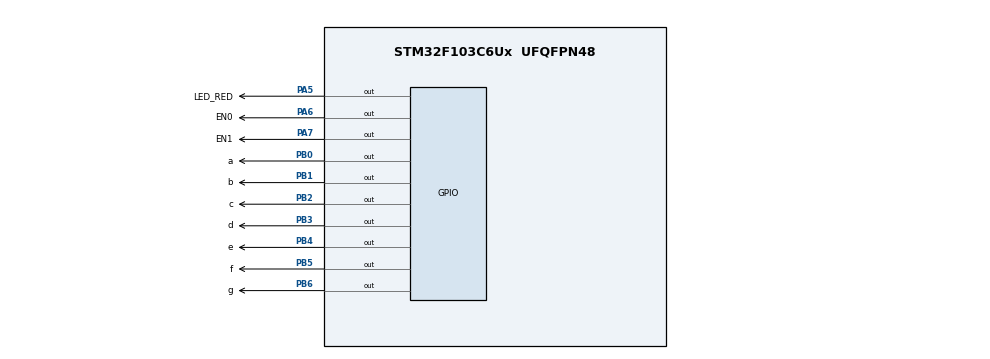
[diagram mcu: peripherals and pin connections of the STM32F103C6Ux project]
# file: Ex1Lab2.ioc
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Mcu.Family=STM32F1
Mcu.Name=STM32F103C6Ux
Mcu.Package=UFQFPN48
NVIC.PriorityGroup=NVIC_PRIORITYGROUP_4
NVIC.TIM2_IRQn=true\:0\:0\:false\:false\:true\:true\:true
PA5.GPIO_Label=LED_RED
PA5.Signal=GPIO_Output
PA6.GPIO_Label=EN0
PA6.Signal=GPIO_Output
PA7.GPIO_Label=EN1
PA7.Signal=GPIO_Output
PB0.GPIO_Label=a
PB0.Signal=GPIO_Output
PB1.GPIO_Label=b
PB1.Signal=GPIO_Output
PB2.GPIO_Label=c
PB2.Signal=GPIO_Output
PB3.GPIO_Label=d
PB3.Signal=GPIO_Output
PB4.GPIO_Label=e
PB4.Signal=GPIO_Output
PB5.GPIO_Label=f
PB5.Signal=GPIO_Output
PB6.GPIO_Label=g
PB6.Signal=GPIO_Output
ProjectManager.HeapSize=0x200
ProjectManager.StackSize=0x400
ProjectManager.TargetToolchain=STM32CubeIDE
RCC.APB1Freq_Value=8000000
RCC.APB2Freq_Value=8000000
TIM2.Period=9
TIM2.Prescaler=7999
VP_SYS_VS_ND.Mode=No_Debug
VP_TIM2_VS_ClockSourceINT.Mode=Internal
board=custom

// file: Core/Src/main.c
/* USER CODE BEGIN Header */
/**
  ******************************************************************************
  * @file           : main.c
  * @brief          : Main program body
  ******************************************************************************
  * @attention
  *
  * <h2><center>&copy; Copyright (c) 2024 STMicroelectronics.
  * All rights reserved.</center></h2>
  *
  * This software component is licensed by ST under BSD 3-Clause license,
  * the "License"; You may not use this file except in compliance with the
  * License. You may obtain a copy of the License at:
  *                        opensource.org/licenses/BSD-3-Clause
  *
  ******************************************************************************
  */
/* USER CODE END Header */
#include "main.h"

TIM_HandleTypeDef htim2;

void SystemClock_Config(void);
static void MX_TIM2_Init(void);
static void MX_GPIO_Init(void);
void display7SEG(int num);

int main(void)
{

  /* MCU Configuration--------------------------------------------------------*/

  /* Reset of all peripherals, Initializes the Flash interface and the Systick. */
  HAL_Init();

  /* Configure the system clock */
  SystemClock_Config();

  /* Initialize all configured peripherals */
  MX_TIM2_Init();
  MX_GPIO_Init();
  /* USER CODE BEGIN 2 */
  HAL_TIM_Base_Start_IT(&htim2);
  /* USER CODE END 2 */

  /* Infinite loop */
  while (1)
  {

  }
}
void display7SEG(int num)
{

  if (num == 1)
  {
    HAL_GPIO_WritePin(a_GPIO_Port, a_Pin, GPIO_PIN_SET);
    HAL_GPIO_WritePin(b_GPIO_Port, b_Pin, GPIO_PIN_RESET);
    HAL_GPIO_WritePin(c_GPIO_Port, c_Pin, GPIO_PIN_RESET);
    HAL_GPIO_WritePin(d_GPIO_Port, d_Pin, GPIO_PIN_SET);
    HAL_GPIO_WritePin(e_GPIO_Port, e_Pin, GPIO_PIN_SET);
    HAL_GPIO_WritePin(f_GPIO_Port, f_Pin, GPIO_PIN_SET);
    HAL_GPIO_WritePin(g_GPIO_Port, g_Pin, GPIO_PIN_SET);
  }

  else if (num == 2)
  {
    HAL_GPIO_WritePin(a_GPIO_Port, a_Pin, GPIO_PIN_RESET);
    HAL_GPIO_WritePin(b_GPIO_Port, b_Pin, GPIO_PIN_RESET);
    HAL_GPIO_WritePin(c_GPIO_Port, c_Pin, GPIO_PIN_SET);
    HAL_GPIO_WritePin(d_GPIO_Port, d_Pin, GPIO_PIN_RESET);
    HAL_GPIO_WritePin(e_GPIO_Port, e_Pin, GPIO_PIN_RESET);
    HAL_GPIO_WritePin(f_GPIO_Port, f_Pin, GPIO_PIN_SET);
    HAL_GPIO_WritePin(g_GPIO_Port, g_Pin, GPIO_PIN_RESET);
  }
}
void SystemClock_Config(void)
{
  RCC_OscInitTypeDef RCC_OscInitStruct = {0};
  RCC_ClkInitTypeDef RCC_ClkInitStruct = {0};

  /** Initializes the RCC Oscillators according to the specified parameters
  * in the RCC_OscInitTypeDef structure.
  */
  RCC_OscInitStruct.OscillatorType = RCC_OSCILLATORTYPE_HSI;
  RCC_OscInitStruct.HSIState = RCC_HSI_ON;
  RCC_OscInitStruct.HSICalibrationValue = RCC_HSICALIBRATION_DEFAULT;
  RCC_OscInitStruct.PLL.PLLState = RCC_PLL_NONE;
  if (HAL_RCC_OscConfig(&RCC_OscInitStruct) != HAL_OK)
  {
    Error_Handler();
  }
  /** Initializes the CPU, AHB and APB buses clocks
  */
  RCC_ClkInitStruct.ClockType = RCC_CLOCKTYPE_HCLK|RCC_CLOCKTYPE_SYSCLK
                              |RCC_CLOCKTYPE_PCLK1|RCC_CLOCKTYPE_PCLK2;
  RCC_ClkInitStruct.SYSCLKSource = RCC_SYSCLKSOURCE_HSI;
  RCC_ClkInitStruct.AHBCLKDivider = RCC_SYSCLK_DIV1;
  RCC_ClkInitStruct.APB1CLKDivider = RCC_HCLK_DIV1;
  RCC_ClkInitStruct.APB2CLKDivider = RCC_HCLK_DIV1;

  if (HAL_RCC_ClockConfig(&RCC_ClkInitStruct, FLASH_LATENCY_0) != HAL_OK)
  {
    Error_Handler();
  }
}

static void MX_TIM2_Init(void)
{

  TIM_ClockConfigTypeDef sClockSourceConfig = {0};
  TIM_MasterConfigTypeDef sMasterConfig = {0};

  htim2.Instance = TIM2;
  htim2.Init.Prescaler = 7999;
  htim2.Init.CounterMode = TIM_COUNTERMODE_UP;
  htim2.Init.Period = 9;
  htim2.Init.ClockDivision = TIM_CLOCKDIVISION_DIV1;
  htim2.Init.AutoReloadPreload = TIM_AUTORELOAD_PRELOAD_DISABLE;
  if (HAL_TIM_Base_Init(&htim2) != HAL_OK)
  {
    Error_Handler();
  }
  sClockSourceConfig.ClockSource = TIM_CLOCKSOURCE_INTERNAL;
  if (HAL_TIM_ConfigClockSource(&htim2, &sClockSourceConfig) != HAL_OK)
  {
    Error_Handler();
  }
  sMasterConfig.MasterOutputTrigger = TIM_TRGO_RESET;
  sMasterConfig.MasterSlaveMode = TIM_MASTERSLAVEMODE_DISABLE;
  if (HAL_TIMEx_MasterConfigSynchronization(&htim2, &sMasterConfig) != HAL_OK)
  {
    Error_Handler();
  }

}

static void MX_GPIO_Init(void)
{
  GPIO_InitTypeDef GPIO_InitStruct = {0};

  /* GPIO Ports Clock Enable */
  __HAL_RCC_GPIOA_CLK_ENABLE();
  __HAL_RCC_GPIOB_CLK_ENABLE();

  /*Configure GPIO pin Output Level */
  HAL_GPIO_WritePin(GPIOA, LED_RED_Pin|EN0_Pin|EN1_Pin, GPIO_PIN_RESET);

  /*Configure GPIO pin Output Level */
  HAL_GPIO_WritePin(GPIOB, a_Pin|b_Pin|c_Pin|d_Pin
                          |e_Pin|f_Pin|g_Pin, GPIO_PIN_RESET);

  /*Configure GPIO pins : LED_RED_Pin EN0_Pin EN1_Pin */
  GPIO_InitStruct.Pin = LED_RED_Pin|EN0_Pin|EN1_Pin;
  GPIO_InitStruct.Mode = GPIO_MODE_OUTPUT_PP;
  GPIO_InitStruct.Pull = GPIO_NOPULL;
  GPIO_InitStruct.Speed = GPIO_SPEED_FREQ_LOW;
  HAL_GPIO_Init(GPIOA, &GPIO_InitStruct);

  /*Configure GPIO pins : a_Pin b_Pin c_Pin d_Pin
                           e_Pin f_Pin g_Pin */
  GPIO_InitStruct.Pin = a_Pin|b_Pin|c_Pin|d_Pin
                          |e_Pin|f_Pin|g_Pin;
  GPIO_InitStruct.Mode = GPIO_MODE_OUTPUT_PP;
  GPIO_InitStruct.Pull = GPIO_NOPULL;
  GPIO_InitStruct.Speed = GPIO_SPEED_FREQ_LOW;
  HAL_GPIO_Init(GPIOB, &GPIO_InitStruct);

}

/* USER CODE BEGIN 4 */
int counter = 50;
int status = 0;
int counter1 = 100;
void HAL_TIM_PeriodElapsedCallback(TIM_HandleTypeDef *htim)
{
	if(status == 0)
	{
		counter--;
		HAL_GPIO_WritePin(EN0_GPIO_Port, EN0_Pin, GPIO_PIN_RESET);
		HAL_GPIO_WritePin(EN1_GPIO_Port, EN1_Pin, GPIO_PIN_SET);
		display7SEG(1);
		if(counter <= 0)
		{
			counter = 50;
			status = 1 - status;
		}

	}
	if(status == 1)
	{
		counter--;
		HAL_GPIO_WritePin(EN0_GPIO_Port, EN0_Pin, GPIO_PIN_SET);
		HAL_GPIO_WritePin(EN1_GPIO_Port, EN1_Pin, GPIO_PIN_RESET);
		display7SEG(2);
		if(counter <= 0)
		{
			counter = 50;
			status = 1 - status;
		}
		counter1--;
		if(counter1 <= 0)
		{
			counter1 = 100;
			HAL_GPIO_TogglePin(LED_RED_GPIO_Port, LED_RED_Pin);
		}
	}

}
/* USER CODE END 4 */

void Error_Handler(void)
{
  __disable_irq();
  while (1)
  {
  }
}

/************************ (C) COPYRIGHT STMicroelectronics *****END OF FILE****/
